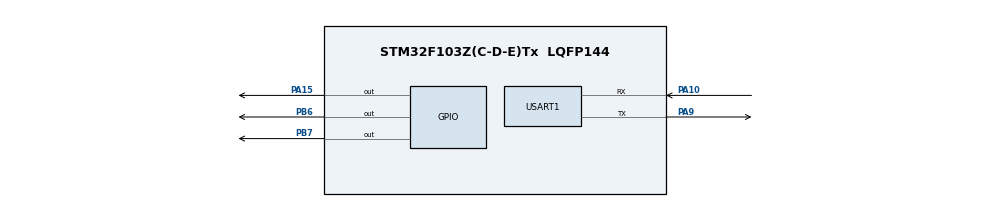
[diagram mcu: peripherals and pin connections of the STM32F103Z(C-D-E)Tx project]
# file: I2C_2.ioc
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Mcu.Family=STM32F1
Mcu.Name=STM32F103Z(C-D-E)Tx
Mcu.Package=LQFP144
NVIC.PriorityGroup=NVIC_PRIORITYGROUP_4
PA10.Mode=Asynchronous
PA10.Signal=USART1_RX
PA15.GPIO_ModeDefaultOutputPP=GPIO_MODE_OUTPUT_PP
PA15.PinState=GPIO_PIN_SET
PA15.Signal=GPIO_Output
PA9.Mode=Asynchronous
PA9.Signal=USART1_TX
PB6.PinState=GPIO_PIN_SET
PB6.Signal=GPIO_Output
PB7.PinState=GPIO_PIN_SET
PB7.Signal=GPIO_Output
ProjectManager.HeapSize=0x200
ProjectManager.StackSize=0x400
ProjectManager.TargetToolchain=MDK-ARM V5.27
RCC.APB1Freq_Value=8000000
RCC.APB2Freq_Value=8000000
USART1.VirtualMode=VM_ASYNC
VP_SYS_VS_ND.Mode=No_Debug
board=custom

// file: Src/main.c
/* USER CODE BEGIN Header */
/**
  ******************************************************************************
  * @file           : main.c
  * @brief          : Main program body
  ******************************************************************************
  * @attention
  *
  * <h2><center>&copy; Copyright (c) 2020 STMicroelectronics.
  * All rights reserved.</center></h2>
  *
  * This software component is licensed by ST under BSD 3-Clause license,
  * the "License"; You may not use this file except in compliance with the
  * License. You may obtain a copy of the License at:
  *                        opensource.org/licenses/BSD-3-Clause
  *
  ******************************************************************************
  */
/* USER CODE END Header */
#include "main.h"
#include "usart.h"
#include "gpio.h"

/* USER CODE BEGIN Includes */
#include "i2c_dup.h"
#include "vl53l0x.h"
#include "sys.h"
#include "delay.h"
/* USER CODE END Includes */

void SystemClock_Config(void);

/* USER CODE BEGIN 0 */
VL53L0X_Dev_t VL53L0x_dev;
VL53L0X_RangingMeasurementData_t VL53L0x_data;
vu16 Distance = 2;   //保存测距数据
/* USER CODE END 0 */

int main(void)
{

  /* MCU Configuration--------------------------------------------------------*/

  /* Reset of all peripherals, Initializes the Flash interface and the Systick. */
  HAL_Init();

  /* Configure the system clock */
  SystemClock_Config();

  /* Initialize all configured peripherals */
  MX_GPIO_Init();
  MX_USART1_UART_Init();
  /* USER CODE BEGIN 2 */
  uint8_t Status = VL53L0X_ERROR_NONE;
	Status = VL53L0x_Init(&VL53L0x_dev);
	if(Status == VL53L0X_ERROR_NONE)
	{
		printf("VL53L0 Init OK\r\n");
	}else
	{
		printf("VL53L0 Init error!\r\n");
    HAL_Delay(2000);
	}
  /* USER CODE END 2 */

  /* Infinite loop */
  /* USER CODE BEGIN WHILE */
  while (1)
  {
		printf("开始le:\r\n");

    VL53L1_single_test(&VL53L0x_dev,&VL53L0x_data);
    delay_ms(1000);
    /* USER CODE END WHILE */

  }
}

void SystemClock_Config(void)
{
  RCC_OscInitTypeDef RCC_OscInitStruct = {0};
  RCC_ClkInitTypeDef RCC_ClkInitStruct = {0};

  /** Initializes the RCC Oscillators according to the specified parameters
  * in the RCC_OscInitTypeDef structure.
  */
  RCC_OscInitStruct.OscillatorType = RCC_OSCILLATORTYPE_HSI;
  RCC_OscInitStruct.HSIState = RCC_HSI_ON;
  RCC_OscInitStruct.HSICalibrationValue = RCC_HSICALIBRATION_DEFAULT;
  RCC_OscInitStruct.PLL.PLLState = RCC_PLL_NONE;
  if (HAL_RCC_OscConfig(&RCC_OscInitStruct) != HAL_OK)
  {
    Error_Handler();
  }
  /** Initializes the CPU, AHB and APB buses clocks
  */
  RCC_ClkInitStruct.ClockType = RCC_CLOCKTYPE_HCLK|RCC_CLOCKTYPE_SYSCLK
                              |RCC_CLOCKTYPE_PCLK1|RCC_CLOCKTYPE_PCLK2;
  RCC_ClkInitStruct.SYSCLKSource = RCC_SYSCLKSOURCE_HSI;
  RCC_ClkInitStruct.AHBCLKDivider = RCC_SYSCLK_DIV1;
  RCC_ClkInitStruct.APB1CLKDivider = RCC_HCLK_DIV1;
  RCC_ClkInitStruct.APB2CLKDivider = RCC_HCLK_DIV1;

  if (HAL_RCC_ClockConfig(&RCC_ClkInitStruct, FLASH_LATENCY_0) != HAL_OK)
  {
    Error_Handler();
  }
}

void Error_Handler(void)
{
}

/************************ (C) COPYRIGHT STMicroelectronics *****END OF FILE****/
